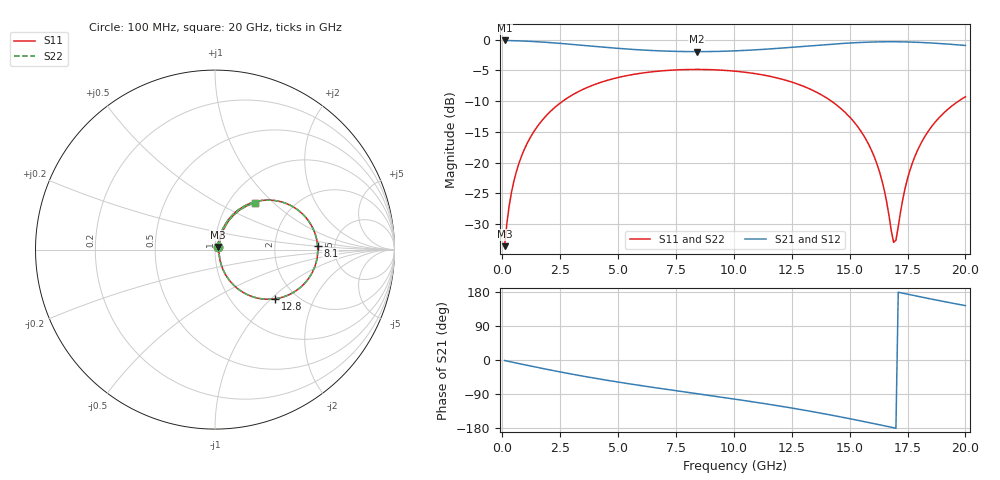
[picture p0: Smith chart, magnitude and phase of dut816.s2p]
! Touchstone file exported from HFSS 2026.1.0
!  File:  C:/ffzhzh/LocalFiles/Ansys_Project_Files/temp_train_TSV_RDL_816_1783264853_39728.aedt
!  Generated:  11:32:34 PM Jul  5, 2026
!  Design:  TSV_RDL
!  Project:  temp_train_TSV_RDL_816_1783264853_39728
! Variables:
!  h_bsmrdl = 3.92um
!  h_ox = 20um
!  h_rdl = 5um
!  h_sub = 53.14um
!  h_tmrdl = 3.33um
!  h_tsv = 53.14um
!  h_via = 3um
!  l_bsmrdl = 468.3um
!  l_sub = 3828.62um
!  l_tmrdl = 471.13um
!  m_sub = 200um
!  pitch = 55.51um
!  r_tsv = 9.55um
!  s_tmrdl = 10um
!  w_bsmrdl = 20.49um
!  w_sub = 500um
!  w_tmrdl = 25.91um
!  x_tsv_center1 = 484.085um
!  x_tsv_center2 = 972.875um
!  x_tsv_center3 = 1469.915um
!  x_tsv_center4 = 1958.705um
!  x_tsv_center5 = 2455.745um
!  x_tsv_center6 = 2944.535um
# GHz S MA R 50.000000
! Terminal data exported
! Port[1] = TM_RDL1_1_T1
! Port[2] = TM_RDL5_1_T1
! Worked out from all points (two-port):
!   200 points, 100 MHz to 20 GHz, reference 50 ohm
!   highest |S21| = -0.13 dB at 100 MHz (marker M1); lowest = -2.0 dB at 8.4 GHz (marker M2)
!   |S21| within 3 dB of the highest: start of sweep to end of sweep
!   lowest |S11| = -33.6 dB at 100 MHz (marker M3), VSWR 1.04, Z = 51.6 + j1.45 ohm
!   |S11| at or under -10 dB: start of sweep to 2.612 GHz; 14.21 GHz to 19.7 GHz (5.49 GHz wide, 32.4 % of centre)
!   |S22| runs from -33.6 to -4.8 dB; largest |S21 - S12| = 1.3e-13
!   S11 on the Smith chart (normalised r, x): 100 MHz: 1.03, +0.03; 8.1 GHz: 3.65, +0.25; 12.8 GHz: 1.57, -1.06; 20 GHz: 1.31, +0.78
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0.1  0.02092 42.3  0.9848 -1.4  0.9848 -1.4  0.02092 42.3
! Gamma 0 0 0 0
! Port Impedance 50 0 50 0
0.3  0.04488 64.7  0.9826 -4.0  0.9826 -4.0  0.04488 64.7
0.5  0.0706 69.3  0.9801 -6.6  0.9801 -6.6  0.07059 69.3
1.1  0.1465 68.3  0.9706 -14.3  0.9706 -14.3  0.1465 68.3
2.1  0.2633 58.9  0.945 -26.8  0.945 -26.8  0.2633 58.9
3.5  0.3953 44.2  0.8978 -42.8  0.8978 -42.8  0.3953 44.2
6.8  0.5557 13.3  0.8103 -74.9  0.8103 -74.9  0.5557 13.3
8.1  0.572 2.3  0.7992 -86.3  0.7992 -86.3  0.572 2.3
8.4  0.5725 -0.2  0.7987 -88.9  0.7987 -88.9  0.5725 -0.2
10.1  0.553 -14.6  0.8112 -103.8  0.8112 -103.8  0.553 -14.6
12.8  0.4324 -39.4  0.8752 -129.8  0.8752 -129.8  0.4323 -39.4
13.4  0.3878 -45.3  0.8936 -136.3  0.8936 -136.3  0.3878 -45.3
14.7  0.2673 -58.4  0.9315 -151.2  0.9315 -151.2  0.2673 -58.4
15.6  0.167 -66.4  0.951 -162.2  0.951 -162.2  0.167 -66.2
16.3  0.08311 -67.2  0.9595 -171.1  0.9595 -171.1  0.08317 -67.0
16.7  0.03712 -51.2  0.9612 -176.2  0.9612 -176.2  0.03732 -50.7
16.9  0.02248 -12.0  0.9611 -178.7  0.9611 -178.7  0.02285 -11.7
17  0.0234 18.7  0.9608 -180.0  0.9608 -180.0  0.02379 18.4
17.4  0.06231 63.0  0.9583 174.9  0.9583 174.9  0.06249 62.7
18  0.1338 66.9  0.9501 167.3  0.9501 167.3  0.1339 66.7
18.8  0.2251 61.1  0.9325 157.5  0.9325 157.5  0.2251 61.0
20  0.3431 49.4  0.897 143.5  0.897 143.5  0.3432 49.3
